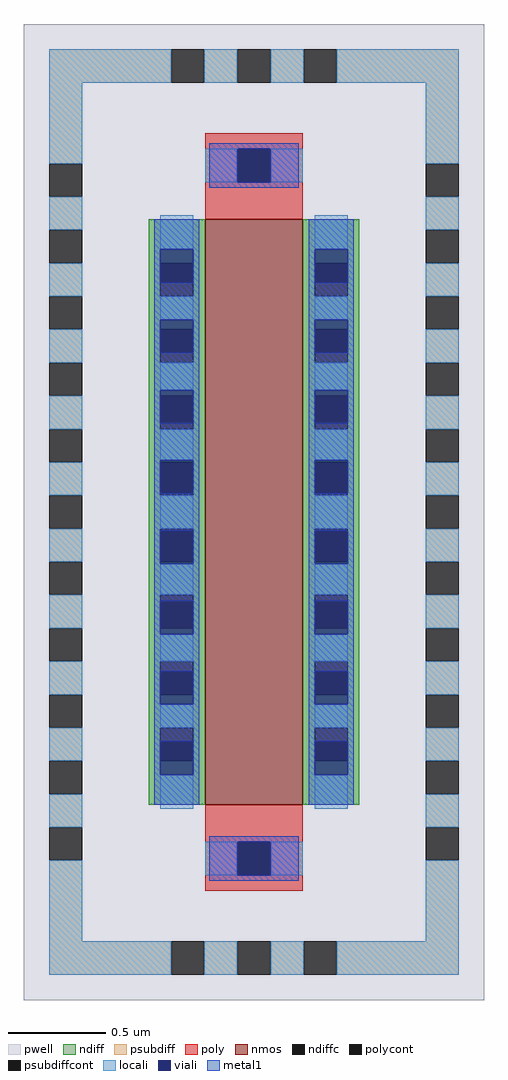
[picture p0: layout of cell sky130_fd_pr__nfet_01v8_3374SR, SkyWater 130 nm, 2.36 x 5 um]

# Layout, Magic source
magic
tech sky130A
magscale 1 2
<< pwell >>
rect -236 -500 236 500
<< nmos >>
rect -50 -300 50 300
<< ndiff >>
rect -108 255 -50 300
rect -108 221 -96 255
rect -62 221 -50 255
rect -108 187 -50 221
rect -108 153 -96 187
rect -62 153 -50 187
rect -108 119 -50 153
rect -108 85 -96 119
rect -62 85 -50 119
rect -108 51 -50 85
rect -108 17 -96 51
rect -62 17 -50 51
rect -108 -17 -50 17
rect -108 -51 -96 -17
rect -62 -51 -50 -17
rect -108 -85 -50 -51
rect -108 -119 -96 -85
rect -62 -119 -50 -85
rect -108 -153 -50 -119
rect -108 -187 -96 -153
rect -62 -187 -50 -153
rect -108 -221 -50 -187
rect -108 -255 -96 -221
rect -62 -255 -50 -221
rect -108 -300 -50 -255
rect 50 255 108 300
rect 50 221 62 255
rect 96 221 108 255
rect 50 187 108 221
rect 50 153 62 187
rect 96 153 108 187
rect 50 119 108 153
rect 50 85 62 119
rect 96 85 108 119
rect 50 51 108 85
rect 50 17 62 51
rect 96 17 108 51
rect 50 -17 108 17
rect 50 -51 62 -17
rect 96 -51 108 -17
rect 50 -85 108 -51
rect 50 -119 62 -85
rect 96 -119 108 -85
rect 50 -153 108 -119
rect 50 -187 62 -153
rect 96 -187 108 -153
rect 50 -221 108 -187
rect 50 -255 62 -221
rect 96 -255 108 -221
rect 50 -300 108 -255
<< ndiffc >>
rect -96 221 -62 255
rect -96 153 -62 187
rect -96 85 -62 119
rect -96 17 -62 51
rect -96 -51 -62 -17
rect -96 -119 -62 -85
rect -96 -187 -62 -153
rect -96 -255 -62 -221
rect 62 221 96 255
rect 62 153 96 187
rect 62 85 96 119
rect 62 17 96 51
rect 62 -51 96 -17
rect 62 -119 96 -85
rect 62 -187 96 -153
rect 62 -255 96 -221
<< psubdiff >>
rect -210 440 -85 474
rect -51 440 -17 474
rect 17 440 51 474
rect 85 440 210 474
rect -210 357 -176 440
rect -210 289 -176 323
rect 176 357 210 440
rect -210 221 -176 255
rect -210 153 -176 187
rect -210 85 -176 119
rect -210 17 -176 51
rect -210 -51 -176 -17
rect -210 -119 -176 -85
rect -210 -187 -176 -153
rect -210 -255 -176 -221
rect -210 -323 -176 -289
rect 176 289 210 323
rect 176 221 210 255
rect 176 153 210 187
rect 176 85 210 119
rect 176 17 210 51
rect 176 -51 210 -17
rect 176 -119 210 -85
rect 176 -187 210 -153
rect 176 -255 210 -221
rect -210 -440 -176 -357
rect 176 -323 210 -289
rect 176 -440 210 -357
rect -210 -474 -85 -440
rect -51 -474 -17 -440
rect 17 -474 51 -440
rect 85 -474 210 -440
<< psubdiffcont >>
rect -85 440 -51 474
rect -17 440 17 474
rect 51 440 85 474
rect -210 323 -176 357
rect 176 323 210 357
rect -210 255 -176 289
rect -210 187 -176 221
rect -210 119 -176 153
rect -210 51 -176 85
rect -210 -17 -176 17
rect -210 -85 -176 -51
rect -210 -153 -176 -119
rect -210 -221 -176 -187
rect -210 -289 -176 -255
rect 176 255 210 289
rect 176 187 210 221
rect 176 119 210 153
rect 176 51 210 85
rect 176 -17 210 17
rect 176 -85 210 -51
rect 176 -153 210 -119
rect 176 -221 210 -187
rect 176 -289 210 -255
rect -210 -357 -176 -323
rect 176 -357 210 -323
rect -85 -474 -51 -440
rect -17 -474 17 -440
rect 51 -474 85 -440
<< poly >>
rect -50 372 50 388
rect -50 338 -17 372
rect 17 338 50 372
rect -50 300 50 338
rect -50 -338 50 -300
rect -50 -372 -17 -338
rect 17 -372 50 -338
rect -50 -388 50 -372
<< polycont >>
rect -17 338 17 372
rect -17 -372 17 -338
<< locali >>
rect -210 440 -85 474
rect -51 440 -17 474
rect 17 440 51 474
rect 85 440 210 474
rect -210 357 -176 440
rect -50 338 -17 372
rect 17 338 50 372
rect 176 357 210 440
rect -210 289 -176 323
rect -210 221 -176 255
rect -210 153 -176 187
rect -210 85 -176 119
rect -210 17 -176 51
rect -210 -51 -176 -17
rect -210 -119 -176 -85
rect -210 -187 -176 -153
rect -210 -255 -176 -221
rect -210 -323 -176 -289
rect -96 269 -62 304
rect -96 197 -62 221
rect -96 125 -62 153
rect -96 53 -62 85
rect -96 -17 -62 17
rect -96 -85 -62 -53
rect -96 -153 -62 -125
rect -96 -221 -62 -197
rect -96 -304 -62 -269
rect 62 269 96 304
rect 62 197 96 221
rect 62 125 96 153
rect 62 53 96 85
rect 62 -17 96 17
rect 62 -85 96 -53
rect 62 -153 96 -125
rect 62 -221 96 -197
rect 62 -304 96 -269
rect 176 289 210 323
rect 176 221 210 255
rect 176 153 210 187
rect 176 85 210 119
rect 176 17 210 51
rect 176 -51 210 -17
rect 176 -119 210 -85
rect 176 -187 210 -153
rect 176 -255 210 -221
rect 176 -323 210 -289
rect -210 -440 -176 -357
rect -50 -372 -17 -338
rect 17 -372 50 -338
rect 176 -440 210 -357
rect -210 -474 -85 -440
rect -51 -474 -17 -440
rect 17 -474 51 -440
rect 85 -474 210 -440
<< viali >>
rect -17 338 17 372
rect -96 255 -62 269
rect -96 235 -62 255
rect -96 187 -62 197
rect -96 163 -62 187
rect -96 119 -62 125
rect -96 91 -62 119
rect -96 51 -62 53
rect -96 19 -62 51
rect -96 -51 -62 -19
rect -96 -53 -62 -51
rect -96 -119 -62 -91
rect -96 -125 -62 -119
rect -96 -187 -62 -163
rect -96 -197 -62 -187
rect -96 -255 -62 -235
rect -96 -269 -62 -255
rect 62 255 96 269
rect 62 235 96 255
rect 62 187 96 197
rect 62 163 96 187
rect 62 119 96 125
rect 62 91 96 119
rect 62 51 96 53
rect 62 19 96 51
rect 62 -51 96 -19
rect 62 -53 96 -51
rect 62 -119 96 -91
rect 62 -125 96 -119
rect 62 -187 96 -163
rect 62 -197 96 -187
rect 62 -255 96 -235
rect 62 -269 96 -255
rect -17 -372 17 -338
<< metal1 >>
rect -46 372 46 378
rect -46 338 -17 372
rect 17 338 46 372
rect -46 332 46 338
rect -102 269 -56 300
rect -102 235 -96 269
rect -62 235 -56 269
rect -102 197 -56 235
rect -102 163 -96 197
rect -62 163 -56 197
rect -102 125 -56 163
rect -102 91 -96 125
rect -62 91 -56 125
rect -102 53 -56 91
rect -102 19 -96 53
rect -62 19 -56 53
rect -102 -19 -56 19
rect -102 -53 -96 -19
rect -62 -53 -56 -19
rect -102 -91 -56 -53
rect -102 -125 -96 -91
rect -62 -125 -56 -91
rect -102 -163 -56 -125
rect -102 -197 -96 -163
rect -62 -197 -56 -163
rect -102 -235 -56 -197
rect -102 -269 -96 -235
rect -62 -269 -56 -235
rect -102 -300 -56 -269
rect 56 269 102 300
rect 56 235 62 269
rect 96 235 102 269
rect 56 197 102 235
rect 56 163 62 197
rect 96 163 102 197
rect 56 125 102 163
rect 56 91 62 125
rect 96 91 102 125
rect 56 53 102 91
rect 56 19 62 53
rect 96 19 102 53
rect 56 -19 102 19
rect 56 -53 62 -19
rect 96 -53 102 -19
rect 56 -91 102 -53
rect 56 -125 62 -91
rect 96 -125 102 -91
rect 56 -163 102 -125
rect 56 -197 62 -163
rect 96 -197 102 -163
rect 56 -235 102 -197
rect 56 -269 62 -235
rect 96 -269 102 -235
rect 56 -300 102 -269
rect -46 -338 46 -332
rect -46 -372 -17 -338
rect 17 -372 46 -338
rect -46 -378 46 -372
<< properties >>
string FIXED_BBOX -192 -456 192 456
<< end >>
